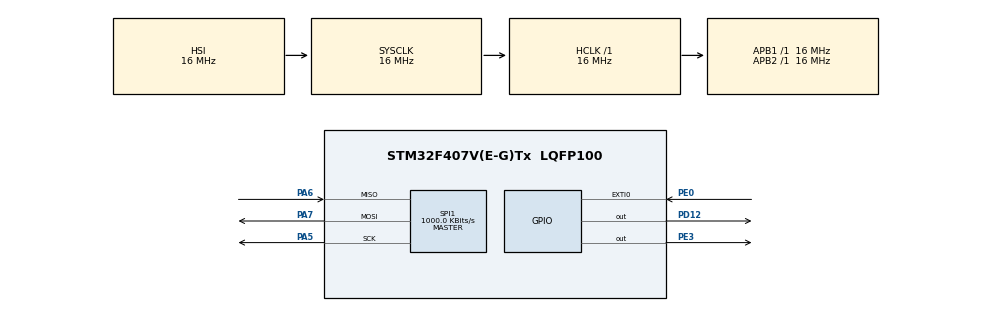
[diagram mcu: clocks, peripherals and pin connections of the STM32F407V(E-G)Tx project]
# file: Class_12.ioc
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Mcu.Family=STM32F4
Mcu.Name=STM32F407V(E-G)Tx
Mcu.Package=LQFP100
NVIC.EXTI0_IRQn=true\:0\:0\:false\:false\:true\:true\:true
NVIC.PriorityGroup=NVIC_PRIORITYGROUP_4
PA5.Mode=Full_Duplex_Master
PA5.Signal=SPI1_SCK
PA6.Mode=Full_Duplex_Master
PA6.Signal=SPI1_MISO
PA7.Mode=Full_Duplex_Master
PA7.Signal=SPI1_MOSI
PD12.Signal=GPIO_Output
PE0.Signal=GPXTI0
PE3.PinState=GPIO_PIN_SET
PE3.Signal=GPIO_Output
ProjectManager.HeapSize=0x200
ProjectManager.StackSize=0x400
ProjectManager.TargetToolchain=STM32CubeIDE
RCC.AHBFreq_Value=16000000
RCC.APB1Freq_Value=16000000
RCC.APB2Freq_Value=16000000
RCC.CortexFreq_Value=16000000
RCC.HSE_VALUE=25000000
RCC.HSI_VALUE=16000000
RCC.LSE_VALUE=32768
RCC.SYSCLKFreq_VALUE=16000000
RCC.VCOOutputFreq_Value=192000000
SPI1.BaudRatePrescaler=SPI_BAUDRATEPRESCALER_16
SPI1.CalculateBaudRate=1000.0 KBits/s
SPI1.Direction=SPI_DIRECTION_2LINES
SPI1.Mode=SPI_MODE_MASTER
SPI1.VirtualType=VM_MASTER
board=custom

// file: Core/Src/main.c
/* USER CODE BEGIN Header */
/**
  ******************************************************************************
  * @file           : main.c
  * @brief          : Main program body
  ******************************************************************************
  * @attention
  *
  * Copyright (c) 2023 STMicroelectronics.
  * All rights reserved.
  *
  * This software is licensed under terms that can be found in the LICENSE file
  * in the root directory of this software component.
  * If no LICENSE file comes with this software, it is provided AS-IS.
  *
  ******************************************************************************
  */
/* USER CODE END Header */
#include "main.h"

SPI_HandleTypeDef hspi1;

/* USER CODE BEGIN PV */
uint8_t buffer = 0;
uint8_t g_data[1];

uint8_t dataX = 0;
uint8_t dataY = 0;
uint8_t dataZ = 0;

/* USER CODE END PV */

void SystemClock_Config(void);
static void MX_GPIO_Init(void);
static void MX_SPI1_Init(void);

/* USER CODE BEGIN 0 */
void write_acc(uint8_t address, uint8_t data){

	uint8_t address_1[2];
	address_1[0]=address;
	address_1[1]=data;

	HAL_GPIO_WritePin(GPIOE, GPIO_PIN_3, GPIO_PIN_RESET);
	HAL_SPI_Transmit(&hspi1, address_1, 2, 50);
	HAL_GPIO_WritePin(GPIOE, GPIO_PIN_3, GPIO_PIN_SET);
}

uint8_t read_acc(uint8_t address){
	uint8_t address_1[1];
	address_1[0]=address | 0x80;// ilk bit 1
	HAL_GPIO_WritePin(GPIOE, GPIO_PIN_3, GPIO_PIN_RESET);
		HAL_SPI_Transmit(&hspi1, address_1, 1, 50);
		HAL_SPI_Receive(&hspi1, g_data, 1, 50);
		HAL_GPIO_WritePin(GPIOE, GPIO_PIN_3, GPIO_PIN_SET);
	return g_data[0];

}
/* USER CODE END 0 */

int main(void)
{

  /* MCU Configuration--------------------------------------------------------*/

  /* Reset of all peripherals, Initializes the Flash interface and the Systick. */
  HAL_Init();

  /* Configure the system clock */
  SystemClock_Config();

  /* Initialize all configured peripherals */
  MX_GPIO_Init();
  MX_SPI1_Init();
  /* USER CODE BEGIN 2 */
  write_acc(0x20,0x17);
  buffer = read_acc(0x20);

  write_acc(0x23,0xC8);
  buffer = read_acc(0x23);
  /* USER CODE END 2 */

  /* Infinite loop */
  while (1)
  {

  }
}

void SystemClock_Config(void)
{
  RCC_OscInitTypeDef RCC_OscInitStruct = {0};
  RCC_ClkInitTypeDef RCC_ClkInitStruct = {0};

  /** Configure the main internal regulator output voltage
  */
  __HAL_RCC_PWR_CLK_ENABLE();
  __HAL_PWR_VOLTAGESCALING_CONFIG(PWR_REGULATOR_VOLTAGE_SCALE1);
  /** Initializes the RCC Oscillators according to the specified parameters
  * in the RCC_OscInitTypeDef structure.
  */
  RCC_OscInitStruct.OscillatorType = RCC_OSCILLATORTYPE_HSI;
  RCC_OscInitStruct.HSIState = RCC_HSI_ON;
  RCC_OscInitStruct.HSICalibrationValue = RCC_HSICALIBRATION_DEFAULT;
  RCC_OscInitStruct.PLL.PLLState = RCC_PLL_NONE;
  if (HAL_RCC_OscConfig(&RCC_OscInitStruct) != HAL_OK)
  {
    Error_Handler();
  }
  /** Initializes the CPU, AHB and APB buses clocks
  */
  RCC_ClkInitStruct.ClockType = RCC_CLOCKTYPE_HCLK|RCC_CLOCKTYPE_SYSCLK
                              |RCC_CLOCKTYPE_PCLK1|RCC_CLOCKTYPE_PCLK2;
  RCC_ClkInitStruct.SYSCLKSource = RCC_SYSCLKSOURCE_HSI;
  RCC_ClkInitStruct.AHBCLKDivider = RCC_SYSCLK_DIV1;
  RCC_ClkInitStruct.APB1CLKDivider = RCC_HCLK_DIV1;
  RCC_ClkInitStruct.APB2CLKDivider = RCC_HCLK_DIV1;

  if (HAL_RCC_ClockConfig(&RCC_ClkInitStruct, FLASH_LATENCY_0) != HAL_OK)
  {
    Error_Handler();
  }
}

static void MX_SPI1_Init(void)
{

  /* SPI1 parameter configuration*/
  hspi1.Instance = SPI1;
  hspi1.Init.Mode = SPI_MODE_MASTER;
  hspi1.Init.Direction = SPI_DIRECTION_2LINES;
  hspi1.Init.DataSize = SPI_DATASIZE_8BIT;
  hspi1.Init.CLKPolarity = SPI_POLARITY_LOW;
  hspi1.Init.CLKPhase = SPI_PHASE_1EDGE;
  hspi1.Init.NSS = SPI_NSS_SOFT;
  hspi1.Init.BaudRatePrescaler = SPI_BAUDRATEPRESCALER_16;
  hspi1.Init.FirstBit = SPI_FIRSTBIT_MSB;
  hspi1.Init.TIMode = SPI_TIMODE_DISABLE;
  hspi1.Init.CRCCalculation = SPI_CRCCALCULATION_DISABLE;
  hspi1.Init.CRCPolynomial = 10;
  if (HAL_SPI_Init(&hspi1) != HAL_OK)
  {
    Error_Handler();
  }

}

static void MX_GPIO_Init(void)
{
  GPIO_InitTypeDef GPIO_InitStruct = {0};

  /* GPIO Ports Clock Enable */
  __HAL_RCC_GPIOE_CLK_ENABLE();
  __HAL_RCC_GPIOA_CLK_ENABLE();
  __HAL_RCC_GPIOD_CLK_ENABLE();

  /*Configure GPIO pin Output Level */
  HAL_GPIO_WritePin(GPIOE, GPIO_PIN_3, GPIO_PIN_SET);

  /*Configure GPIO pin Output Level */
  HAL_GPIO_WritePin(GPIOD, GPIO_PIN_12, GPIO_PIN_RESET);

  /*Configure GPIO pin : PE3 */
  GPIO_InitStruct.Pin = GPIO_PIN_3;
  GPIO_InitStruct.Mode = GPIO_MODE_OUTPUT_PP;
  GPIO_InitStruct.Pull = GPIO_NOPULL;
  GPIO_InitStruct.Speed = GPIO_SPEED_FREQ_LOW;
  HAL_GPIO_Init(GPIOE, &GPIO_InitStruct);

  /*Configure GPIO pin : PD12 */
  GPIO_InitStruct.Pin = GPIO_PIN_12;
  GPIO_InitStruct.Mode = GPIO_MODE_OUTPUT_PP;
  GPIO_InitStruct.Pull = GPIO_NOPULL;
  GPIO_InitStruct.Speed = GPIO_SPEED_FREQ_LOW;
  HAL_GPIO_Init(GPIOD, &GPIO_InitStruct);

  /*Configure GPIO pin : PE0 */
  GPIO_InitStruct.Pin = GPIO_PIN_0;
  GPIO_InitStruct.Mode = GPIO_MODE_IT_RISING;
  GPIO_InitStruct.Pull = GPIO_NOPULL;
  HAL_GPIO_Init(GPIOE, &GPIO_InitStruct);

  /* EXTI interrupt init*/
  HAL_NVIC_SetPriority(EXTI0_IRQn, 0, 0);
  HAL_NVIC_EnableIRQ(EXTI0_IRQn);

}

/* USER CODE BEGIN 4 */
void HAL_GPIO_EXTI_Callback(uint16_t GPIO_Pin)
{
  /* Prevent unused argument(s) compilation warning */
  UNUSED(GPIO_Pin);
  /* NOTE: This function Should not be modified, when the callback is needed,
           the HAL_GPIO_EXTI_Callback could be implemented in the user file
   */
  dataX=read_acc(0x29);
  dataY=read_acc(0x2B);
  dataZ=read_acc(0x2D);
}
/* USER CODE END 4 */

void Error_Handler(void)
{
  __disable_irq();
  while (1)
  {
  }
}
